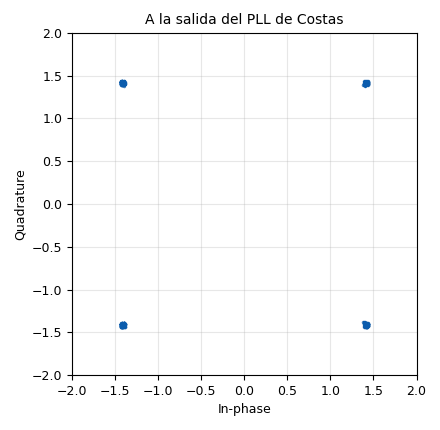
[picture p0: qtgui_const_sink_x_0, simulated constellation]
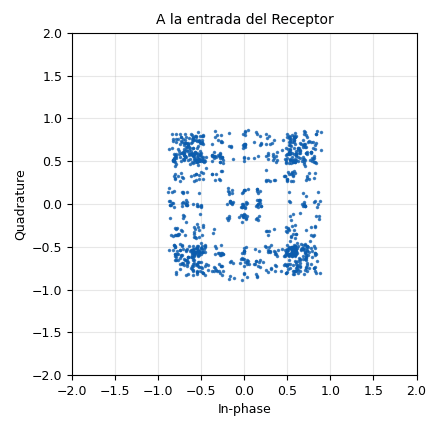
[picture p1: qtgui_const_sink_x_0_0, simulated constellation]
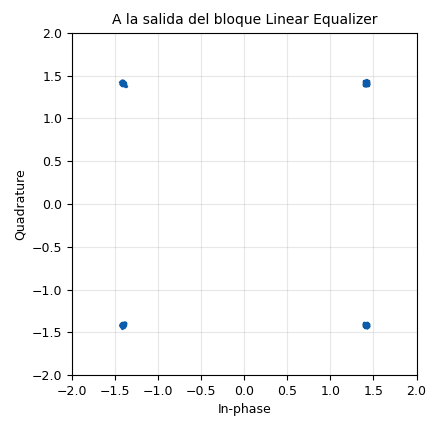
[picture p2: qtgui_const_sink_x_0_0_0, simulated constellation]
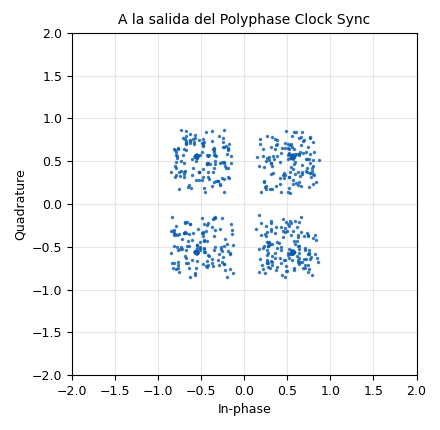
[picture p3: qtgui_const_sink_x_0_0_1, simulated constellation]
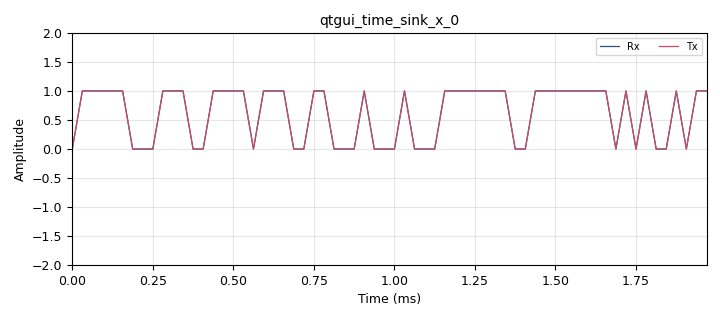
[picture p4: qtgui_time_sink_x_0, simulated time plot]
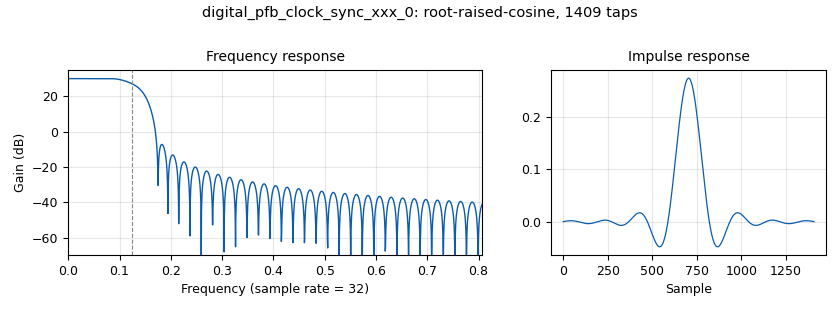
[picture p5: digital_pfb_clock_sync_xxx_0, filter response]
options:
  parameters:
    author: Marcelo Doallo (Barry Duggan)
    category: Custom
    generate_options: qt_gui
    id: DQPSK_Tx_Rx
    output_language: python
    title: Demostración de Transmisión y Recepción de DQPSK
  states: {}

blocks:
- name: att
  id: variable_qtgui_range
  parameters:
    comment: 3,0,1,1
    gui_hint: 3,0,1,1
    label: Atenuación
    start: '0'
    step: '.1'
    stop: '1'
    value: '.8'
    widget: eng_slider
  states: {}
- name: delay
  id: variable_qtgui_range
  parameters:
    comment: 4,0,1,1
    gui_hint: 4,0,1,1
    label: Delay
    start: '0'
    step: '1'
    stop: '200'
    value: '58'
  states: {}
- name: excess_bw
  id: variable
  parameters:
    value: '0.35'
  states: {}
- name: freq_offset
  id: variable_qtgui_range
  parameters:
    comment: 2,0,1,1
    gui_hint: 2,0,1,1
    label: 'Channel: Frequency Offset'
    start: '-0.001'
    step: '0.00001'
    stop: '0.001'
    value: '0'
  states: {}
- name: nfilts
  id: variable
  parameters:
    value: '32'
  states: {}
- name: noise_volt
  id: variable_qtgui_range
  parameters:
    comment: 0,0,1,1
    gui_hint: 0,0,1,1
    label: 'Channel: Noise Voltage'
    start: '0'
    step: '0.01'
    stop: '1'
    value: '0'
  states: {}
- name: phase_bw
  id: variable
  parameters:
    value: '0.0628'
  states: {}
- name: qpsk
  id: variable_constellation_rect
  parameters:
    const_points: '[0.707+0.707j, -0.707+0.707j, -0.707-0.707j, 0.707-0.707j]'
    imag_sect: '2'
    real_sect: '2'
    rot_sym: '4'
    sym_map: '[0, 1, 2, 3]'
    w_imag_sect: '1'
    w_real_sect: '1'
  states: {}
- name: rrc_taps
  id: variable
  parameters:
    value: firdes.root_raised_cosine(nfilts, nfilts, 1.0/float(sps), 0.35, 11*sps*nfilts)
  states: {}
- name: samp_rate
  id: variable
  parameters:
    value: '32000'
  states: {}
- name: sps
  id: variable
  parameters:
    value: '4'
  states: {}
- name: time_offset
  id: variable_qtgui_range
  parameters:
    comment: 1,0,1,1
    gui_hint: 1,0,1,1
    label: 'Channel: Timing Offset'
    start: '0.9'
    step: '0.01'
    stop: '1.1'
    value: '1.000'
  states: {}
- name: variable_adaptive_algorithm_0
  id: variable_adaptive_algorithm
  parameters:
    cons: qpsk
    modulus: '4'
    step_size: '.0001'
    type: cma
  states: {}
- name: analog_random_source_x_0
  id: analog_random_source_x
  parameters:
    max: '256'
    min: '0'
    num_samps: '10000'
    repeat: 'True'
    type: byte
  states: {}
- name: blocks_char_to_float_0_0
  id: blocks_char_to_float
  parameters:
    scale: '1'
  states: {}
- name: blocks_char_to_float_0_0_0
  id: blocks_char_to_float
  parameters:
    scale: '1'
  states: {}
- name: blocks_delay_0
  id: blocks_delay
  parameters:
    delay: int(delay)
    type: float
  states: {}
- name: blocks_multiply_const_vxx_0
  id: blocks_multiply_const_vxx
  parameters:
    const: att
    type: complex
  states: {}
- name: blocks_throttle2_0
  id: blocks_throttle2
  parameters:
    samples_per_second: samp_rate
    type: complex
  states: {}
- name: blocks_unpack_k_bits_bb_0
  id: blocks_unpack_k_bits_bb
  parameters:
    k: '2'
  states: {}
- name: blocks_unpack_k_bits_bb_0_0
  id: blocks_unpack_k_bits_bb
  parameters:
    k: '8'
  states: {}
- name: channels_channel_model_0
  id: channels_channel_model
  parameters:
    epsilon: time_offset
    freq_offset: freq_offset
    noise_voltage: noise_volt
    seed: '0'
    taps: '1'
  states: {}
- name: digital_constellation_decoder_cb_0
  id: digital_constellation_decoder_cb
  parameters:
    constellation: qpsk
  states: {}
- name: digital_constellation_modulator_0
  id: digital_constellation_modulator
  parameters:
    constellation: qpsk
    differential: 'True'
    excess_bw: excess_bw
    samples_per_symbol: sps
  states: {}
- name: digital_costas_loop_cc_0
  id: digital_costas_loop_cc
  parameters:
    order: '4'
    w: phase_bw
  states: {}
- name: digital_diff_decoder_bb_0
  id: digital_diff_decoder_bb
  parameters:
    coding: digital.DIFF_DIFFERENTIAL
    modulus: '4'
  states: {}
- name: digital_linear_equalizer_0
  id: digital_linear_equalizer
  parameters:
    alg: variable_adaptive_algorithm_0
    num_taps: '15'
    sps: '2'
  states: {}
- name: digital_map_bb_0
  id: digital_map_bb
  parameters:
    map: '[0,1,2,3]'
  states: {}
- name: digital_pfb_clock_sync_xxx_0
  id: digital_pfb_clock_sync_xxx
  parameters:
    filter_size: nfilts
    init_phase: nfilts/2
    loop_bw: phase_bw
    max_dev: '1.5'
    osps: '2'
    sps: sps
    taps: rrc_taps
    type: ccf
  states: {}
- name: qtgui_const_sink_x_0
  id: qtgui_const_sink_x
  parameters:
    comment: 5,1,5,1
    gui_hint: 5,1,5,1
    legend: 'False'
    name: A la salida del PLL de Costas
    size: '1024'
    type: complex
  states: {}
- name: qtgui_const_sink_x_0_0
  id: qtgui_const_sink_x
  parameters:
    comment: 0,1,5,1
    gui_hint: 0,1,5,1
    legend: 'False'
    name: A la entrada del Receptor
    size: '1024'
    type: complex
  states: {}
- name: qtgui_const_sink_x_0_0_0
  id: qtgui_const_sink_x
  parameters:
    comment: 5,0,5,1
    gui_hint: 5,0,5,1
    legend: 'False'
    name: A la salida del bloque Linear Equalizer
    size: '1024'
    type: complex
  states: {}
- name: qtgui_const_sink_x_0_0_1
  id: qtgui_const_sink_x
  parameters:
    comment: 0,2,5,1
    gui_hint: 0,2,5,1
    legend: 'False'
    name: A la salida del Polyphase Clock Sync
    size: '1024'
    type: complex
  states: {}
- name: qtgui_time_sink_x_0
  id: qtgui_time_sink_x
  parameters:
    comment: 5,2,5,1
    gui_hint: 5,2,5,1
    label1: Rx
    label2: Tx
    name: ''
    nconnections: '2'
    size: '64'
    srate: samp_rate
    tr_chan: '1'
    tr_level: '0.5'
    tr_mode: qtgui.TRIG_MODE_AUTO
    type: float
    ymax: '2'
    ymin: '-2'
  states: {}
- name: virtual_sink_0
  id: virtual_sink
  parameters:
    stream_id: r1
  states: {}
- name: virtual_sink_1
  id: virtual_sink
  parameters:
    stream_id: r2
  states: {}
- name: virtual_sink_2
  id: virtual_sink
  parameters:
    stream_id: t1
  states: {}
- name: virtual_source_0
  id: virtual_source
  parameters:
    stream_id: r1
  states: {}
- name: virtual_source_1
  id: virtual_source
  parameters:
    stream_id: r2
  states: {}
- name: virtual_source_2
  id: virtual_source
  parameters:
    stream_id: t1
  states: {}

connections:
- [analog_random_source_x_0, '0', digital_constellation_modulator_0, '0']
- [analog_random_source_x_0, '0', virtual_sink_2, '0']
- [blocks_char_to_float_0_0, '0', qtgui_time_sink_x_0, '0']
- [blocks_char_to_float_0_0_0, '0', blocks_delay_0, '0']
- [blocks_delay_0, '0', qtgui_time_sink_x_0, '1']
- [blocks_multiply_const_vxx_0, '0', digital_pfb_clock_sync_xxx_0, '0']
- [blocks_multiply_const_vxx_0, '0', qtgui_const_sink_x_0_0, '0']
- [blocks_unpack_k_bits_bb_0, '0', blocks_char_to_float_0_0, '0']
- [blocks_unpack_k_bits_bb_0_0, '0', blocks_char_to_float_0_0_0, '0']
- [channels_channel_model_0, '0', blocks_multiply_const_vxx_0, '0']
- [digital_constellation_decoder_cb_0, '0', digital_diff_decoder_bb_0, '0']
- [digital_constellation_modulator_0, '0', blocks_throttle2_0, '0']
- [digital_constellation_modulator_0, '0', channels_channel_model_0, '0']
- [digital_costas_loop_cc_0, '0', digital_constellation_decoder_cb_0, '0']
- [digital_costas_loop_cc_0, '0', qtgui_const_sink_x_0, '0']
- [digital_diff_decoder_bb_0, '0', digital_map_bb_0, '0']
- [digital_linear_equalizer_0, '0', qtgui_const_sink_x_0_0_0, '0']
- [digital_linear_equalizer_0, '0', virtual_sink_0, '0']
- [digital_map_bb_0, '0', virtual_sink_1, '0']
- [digital_pfb_clock_sync_xxx_0, '0', digital_linear_equalizer_0, '0']
- [digital_pfb_clock_sync_xxx_0, '0', qtgui_const_sink_x_0_0_1, '0']
- [virtual_source_0, '0', digital_costas_loop_cc_0, '0']
- [virtual_source_1, '0', blocks_unpack_k_bits_bb_0, '0']
- [virtual_source_2, '0', blocks_unpack_k_bits_bb_0_0, '0']

metadata:
  file_format: 1
  grc_version: 3.10.12.0
